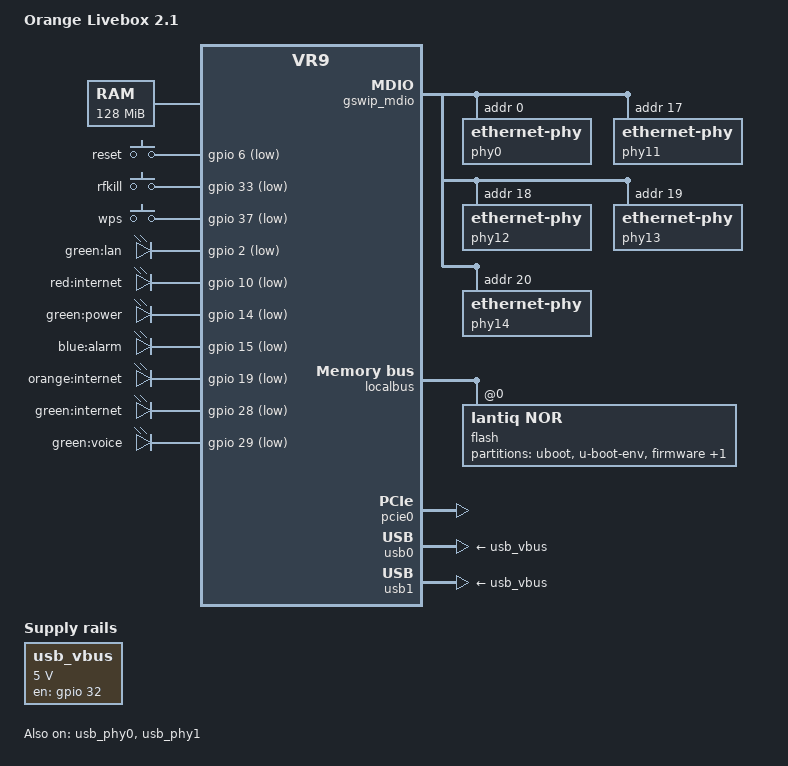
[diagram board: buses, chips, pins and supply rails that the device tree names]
#include "vr9.dtsi"

#include <dt-bindings/input/input.h>
#include <dt-bindings/mips/lantiq_rcu_gphy.h>

/ {
	compatible = "arcadyan,arv7519rw22", "lantiq,xway", "lantiq,vr9";
	model = "Orange Livebox 2.1";

	chosen {
		bootargs = "console=ttyLTQ0,115200";
	};

	aliases {
		led-boot = &power_green;
		led-failsafe = &power_green;
		led-running = &power_green;
		led-upgrade = &power_green;

		led-dsl = &internet_green;
	};

	memory@0 {
		device_type = "memory";
		reg = <0x0 0x8000000>;
	};

	keys {
		compatible = "gpio-keys-polled";
		poll-interval = <100>;

		reset {
			label = "reset";
			gpios = <&gpio 6 GPIO_ACTIVE_LOW>;
			linux,code = <KEY_RESTART>;
		};
		rfkill {
			label = "rfkill";
			gpios = <&gpio 33 GPIO_ACTIVE_LOW>;
			linux,code = <KEY_RFKILL>;
		};
		wps {
			label = "wps";
			gpios = <&gpio 37 GPIO_ACTIVE_LOW>;
			linux,code = <KEY_WPS_BUTTON>;
		};
	};

	leds {
		compatible = "gpio-leds";

		lan_green {
			label = "green:lan";
			gpios = <&gpio 2 GPIO_ACTIVE_LOW>;
		};
		internet_red {
			label = "red:internet";
			gpios = <&gpio 10 GPIO_ACTIVE_LOW>;
		};
		power_green: power_green {
			label = "green:power";
			gpios = <&gpio 14 GPIO_ACTIVE_LOW>;
			default-state = "keep";
		};
		alarm_blue {
			label = "blue:alarm";
			gpios = <&gpio 15 GPIO_ACTIVE_LOW>;
		};
		internet_orange {
			label = "orange:internet";
			gpios = <&gpio 19 GPIO_ACTIVE_LOW>;
		};
		internet_green: internet_green {
			label = "green:internet";
			gpios = <&gpio 28 GPIO_ACTIVE_LOW>;
		};
		voice_green {
			label = "green:voice";
			gpios = <&gpio 29 GPIO_ACTIVE_LOW>;
		};
	};

	usb_vbus: regulator-usb-vbus {
		compatible = "regulator-fixed";

		regulator-name = "USB_VBUS";

		regulator-min-microvolt = <5000000>;
		regulator-max-microvolt = <5000000>;

		gpio = <&gpio 32 GPIO_ACTIVE_HIGH>;
		enable-active-high;
	};
};

&eth0 {
	nvmem-cells = <&macaddr_boardconfig_16>;
	nvmem-cell-names = "mac-address";
};

&gphy0 {
	lantiq,gphy-mode = <GPHY_MODE_FE>;
};

&gphy1 {
	lantiq,gphy-mode = <GPHY_MODE_FE>;
};

&gpio {
	pinctrl-names = "default";
	pinctrl-0 = <&state_default>;

	state_default: pinmux {
		pcie-rst {
			lantiq,pins = "io21";
			lantiq,pull = <0>;
			lantiq,output = <1>;
		};
	};
};

&gswip {
	pinctrl-0 = <&mdio_pins>;
	pinctrl-names = "default";
};

&gswip_mdio {
	phy0: ethernet-phy@0 {
		reg = <0x0>;
	};
	phy11: ethernet-phy@11 {
		reg = <0x11>;
	};
	phy12: ethernet-phy@12 {
		reg = <0x12>;
	};
	phy13: ethernet-phy@13 {
		reg = <0x13>;
	};
	phy14: ethernet-phy@14 {
		reg = <0x14>;
	};
};

&gswip_ports {
	port@0 {
		reg = <0>;
		label = "lan5";
		phy-mode = "rgmii";
		phy-handle = <&phy0>;
	};
	port@2 {
		reg = <2>;
		label = "lan3";
		phy-mode = "internal";
		phy-handle = <&phy11>;
	};
	port@3 {
		reg = <3>;
		label = "lan4";
		phy-mode = "internal";
		phy-handle = <&phy12>;
	};
	port@4 {
		reg = <4>;
		label = "lan1";
		phy-mode = "internal";
		phy-handle = <&phy13>;
	};
	port@5 {
		reg = <5>;
		label = "lan2";
		phy-mode = "internal";
		phy-handle = <&phy14>;
	};
};

&localbus {
	flash@0 {
		compatible = "lantiq,nor";
		bank-width = <2>;
		reg = <0 0x0 0x2000000>;

		partitions {
			compatible = "fixed-partitions";
			#address-cells = <1>;
			#size-cells = <1>;

			partition@0 {
				label = "uboot";
				reg = <0x0 0x60000>;
				read-only;
			};

			partition@60000 {
				label = "u-boot-env";
				reg = <0x60000 0x20000>;
				read-only;
			};

			partition@80000 {
				label = "firmware";
				reg = <0x80000 0x1f00000>;
			};

			boardconfig: partition@1f80000 {
				label = "boardconfig";
				reg = <0x1f80000 0x80000>;
				read-only;
			};
		};
	};
};

&pcie0 {
	status = "okay";
	gpio-reset = <&gpio 21 GPIO_ACTIVE_HIGH>;
};

&usb_phy0 {
	status = "okay";
};

&usb_phy1 {
	status = "okay";
};

&usb0 {
	status = "okay";
	vbus-supply = <&usb_vbus>;
};

&usb1 {
	status = "okay";
	vbus-supply = <&usb_vbus>;
};

&boardconfig {
	compatible = "nvmem-cells";
	#address-cells = <1>;
	#size-cells = <1>;

	macaddr_boardconfig_16: macaddr@16 {
		reg = <0x16 0x6>;
	};
};
